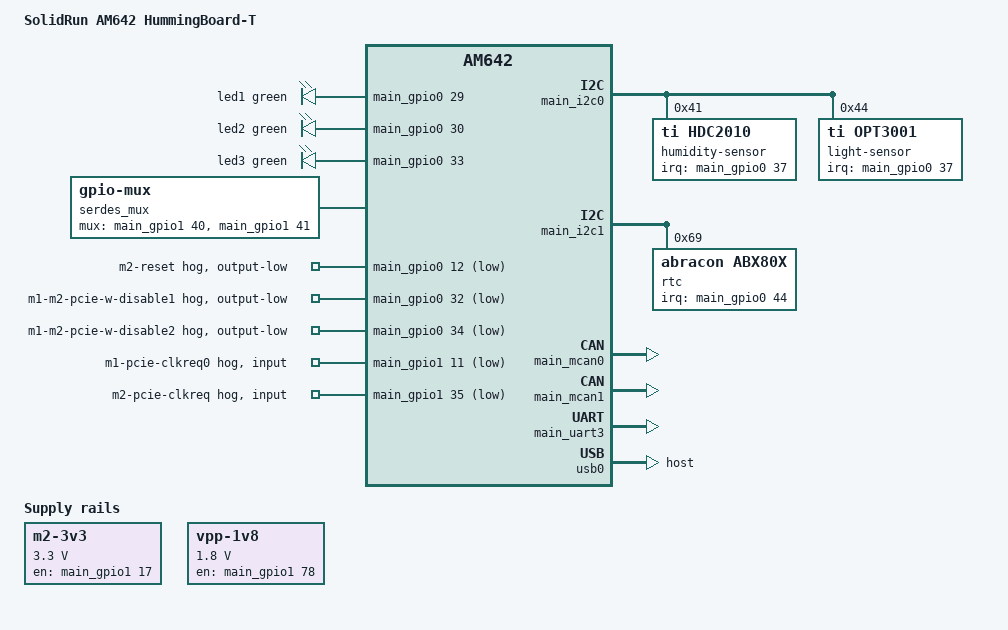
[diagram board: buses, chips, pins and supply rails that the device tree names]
// SPDX-License-Identifier: GPL-2.0+
/*
 * Copyright (C) 2023 Josua Mayer <josua@solid-run.com>
 *
 * DTS for SolidRun AM642 HummingBoard-T,
 * running on Cortex A53.
 *
 */

/dts-v1/;

#include <dt-bindings/leds/common.h>
#include <dt-bindings/phy/phy.h>

#include "k3-am642.dtsi"
#include "k3-am642-sr-som.dtsi"

/ {
	model = "SolidRun AM642 HummingBoard-T";
	compatible = "solidrun,am642-hummingboard-t", "solidrun,am642-sr-som", "ti,am642";

	aliases {
		serial5 = &main_uart3;
	};

	leds {
		compatible = "gpio-leds";
		pinctrl-names = "default";
		pinctrl-0 = <&leds_default_pins>;

		/* D24 */
		led1: led-1 {
			label = "led1";
			gpios = <&main_gpio0 29 GPIO_ACTIVE_HIGH>;
			color = <LED_COLOR_ID_GREEN>;
		};

		/* D25 */
		led2: led-2 {
			label = "led2";
			gpios = <&main_gpio0 30 GPIO_ACTIVE_HIGH>;
			color = <LED_COLOR_ID_GREEN>;
		};

		/* D26 */
		led3: led-3 {
			label = "led3";
			gpios = <&main_gpio0 33 GPIO_ACTIVE_HIGH>;
			color = <LED_COLOR_ID_GREEN>;
		};
	};

	regulator-m2-3v3 {
		compatible = "regulator-fixed";
		pinctrl-names = "default";
		pinctrl-0 = <&regulator_pcie_3v3_default_pins>;
		regulator-name = "m2-3v3";
		regulator-min-microvolt = <3300000>;
		regulator-max-microvolt = <3300000>;
		gpio = <&main_gpio1 17 GPIO_ACTIVE_HIGH>;
		enable-active-high;
		regulator-always-on;
	};

	regulator-vpp-1v8 {
		compatible = "regulator-fixed";
		pinctrl-names = "default";
		pinctrl-0 = <&regulator_vpp_1v8_default_pins>;
		regulator-name = "vpp-1v8";
		regulator-min-microvolt = <1800000>;
		regulator-max-microvolt = <1800000>;
		gpio = <&main_gpio1 78 GPIO_ACTIVE_HIGH>;
		enable-active-high;
	};

	serdes_mux: mux-controller {
		compatible = "gpio-mux";
		pinctrl-names = "default";
		pinctrl-0 = <&serdes_mux_default_pins>;
		#mux-control-cells = <0>;
		/*
		 * Mux has 2 IOs:
		 * - select: 0 = USB-3 (M2); 1 = PCIE (M1)
		 * - shutdown: 0 = active; 1 = disabled (high impedance)
		 */
		mux-gpios = <&main_gpio1 40 GPIO_ACTIVE_HIGH>, <&main_gpio1 41 GPIO_ACTIVE_HIGH>;
		/* default disabled */
		idle-state = <2>;
	};
};

&main_gpio0 {
	m2-reset-hog {
		gpio-hog;
		gpios = <12 GPIO_ACTIVE_LOW>;
		output-low; /* deasserted */
		line-name = "m2-reset";
	};

	m1-m2-w-disable1-hog {
		gpio-hog;
		gpios = <32 GPIO_ACTIVE_LOW>;
		output-low; /* deasserted */
		line-name = "m1-m2-pcie-w-disable1";
	};

	m1-m2-w-disable2-hog {
		gpio-hog;
		gpios = <34 GPIO_ACTIVE_LOW>;
		output-low; /* deasserted */
		line-name = "m1-m2-pcie-w-disable2";
	};
};

&main_gpio1 {
	m1-pcie-clkreq0-hog {
		gpio-hog;
		gpios = <11 GPIO_ACTIVE_LOW>;
		input;
		line-name = "m1-pcie-clkreq0";
	};

	m2-pcie-clkreq-hog {
		gpio-hog;
		gpios = <35 GPIO_ACTIVE_LOW>;
		input;
		line-name = "m2-pcie-clkreq";
	};
};

&main_i2c0 {
	pinctrl-0 = <&main_i2c0_default_pins>, <&main_i2c0_int_default_pins>;

	humidity-sensor@41 {
		compatible = "ti,hdc2010";
		reg = <0x41>;
		interrupt-parent = <&main_gpio0>;
		interrupts = <37 IRQ_TYPE_EDGE_FALLING>;
	};

	light-sensor@44 {
		compatible = "ti,opt3001";
		reg = <0x44>;
		interrupt-parent = <&main_gpio0>;
		interrupts = <37 IRQ_TYPE_EDGE_FALLING>;
	};

	/* charger@6a */
};

&main_i2c1 {
	pinctrl-names = "default";
	pinctrl-0 = <&main_i2c1_default_pins>;
	status = "okay";

	rtc@69 {
		compatible = "abracon,abx80x";
		reg = <0x69>;
		pinctrl-names = "default";
		pinctrl-0 = <&rtc_int_default_pins>;
		abracon,tc-diode = "schottky";
		abracon,tc-resistor = <3>;
		interrupt-parent = <&main_gpio0>;
		interrupts = <44 IRQ_TYPE_EDGE_FALLING>;
	};
};

&main_mcan0 {
	pinctrl-names = "default";
	pinctrl-0 = <&main_mcan0_default_pins>;
	status = "okay";

	can-transceiver {
		max-bitrate = <8000000>;
	};
};

&main_mcan1 {
	pinctrl-names = "default";
	pinctrl-0 = <&main_mcan1_default_pins>;
	status = "okay";

	can-transceiver {
		max-bitrate = <8000000>;
	};
};

&main_pmx0 {
	leds_default_pins: leds-default-pins {
		pinctrl-single,pins = <
			AM64X_IOPAD(0x0074, PIN_OUTPUT, 7) /* GPMC0_AD14.GPIO0_29 */
			AM64X_IOPAD(0x0078, PIN_OUTPUT, 7) /* GPMC0_AD15.GPIO0_30 */
			AM64X_IOPAD(0x0088, PIN_OUTPUT, 7) /* GPMC0_OEn_REn.GPIO0_33 */
		>;
	};

	main_i2c0_int_default_pins: main-i2c0-int-default-pins {
		pinctrl-single,pins = <
			/* external pull-up on Carrier */
			AM64X_IOPAD(0x0098, PIN_INPUT, 7) /* GPMC0_WAIT0.GPIO0_37 */
		>;
	};

	main_i2c1_default_pins: main-i2c1-default-pins {
		pinctrl-single,pins = <
			/* external pull-up on SoM */
			AM64X_IOPAD(0x0268, PIN_INPUT, 0) /* I2C1_SCL.I2C1_SCL */
			AM64X_IOPAD(0x026c, PIN_INPUT, 0) /* I2C1_SDA.I2C1_SDA */
		>;
	};

	main_mcan0_default_pins: main-mcan0-default-pins {
		pinctrl-single,pins = <
			AM64X_IOPAD(0x0254, PIN_INPUT, 0) /* MCAN0_RX.MCAN0_RX */
			AM64X_IOPAD(0x0250, PIN_OUTPUT, 0) /* MCAN0_TX.MCAN0_TX */
		>;
	};

	main_mcan1_default_pins: main-mcan1-default-pins {
		pinctrl-single,pins = <
			AM64X_IOPAD(0x025c, PIN_INPUT, 0) /* MCAN1_RX.MCAN1_RX */
			AM64X_IOPAD(0x0258, PIN_OUTPUT, 0) /* MCAN1_TX.MCAN1_TX */
		>;
	};

	main_uart3_default_pins: main-uart3-default-pins {
		pinctrl-single,pins = <
			AM64X_IOPAD(0x016c, PIN_INPUT, 10) /* PRG0_PRU0_GPO3.UART3_CTSn */
			AM64X_IOPAD(0x0170, PIN_OUTPUT, 10) /* PRG0_PRU0_GPO4.UART3_TXD */
			AM64X_IOPAD(0x0174, PIN_OUTPUT, 10) /* PRG0_PRU0_GPO5.UART3_RTSn */
			AM64X_IOPAD(0x01ac, PIN_INPUT, 10) /* PRG0_PRU0_GPO19.UART3_RXD */
		>;
	};

	pcie0_default_pins: pcie0-default-pins {
		pinctrl-single,pins = <
			/* connector M2 RESET */
			AM64X_IOPAD(0x0030, PIN_OUTPUT, 7) /* OSPI0_CSn1.GPIO0_12 */
			/* connectors M1 & M2 W_DISABLE1 */
			AM64X_IOPAD(0x0084, PIN_OUTPUT, 7) /* GPMC0_ADVN_ALE.GPIO0_32 */
			/* connectors M1 & M2 W_DISABLE2 */
			AM64X_IOPAD(0x008c, PIN_OUTPUT, 7) /* GPMC0_WEN.GPIO0_34 */
			/* connectors M1 & M2 PERST0 (PCI Reset) */
			AM64X_IOPAD(0x019c, PIN_OUTPUT, 7) /* PRG0_PRU0_GPO15.GPIO1_15 */
			/* connector M1 CLKREQ0 */
			AM64X_IOPAD(0x018c, PIN_INPUT, 7) /* PRG0_PRU0_GPO11.GPIO1_11 */
			/* connector M2 CLKREQ0 */
			AM64X_IOPAD(0x01ec, PIN_INPUT, 7) /* PRG0_PRU1_GPO15.GPIO1_35 */
		>;
	};

	regulator_pcie_3v3_default_pins: regulator-pcie-3v3-default-pins {
		pinctrl-single,pins = <
			AM64X_IOPAD(0x01a4, PIN_OUTPUT, 7) /* PRG0_PRU0_GPO17.GPIO1_17 */
		>;
	};

	regulator_vpp_1v8_default_pins: regulator-vpp-1v8-default-pins {
		pinctrl-single,pins = <
			AM64X_IOPAD(0x029c, PIN_OUTPUT, 7) /* MMC1_SDWP.GPIO1_78 */
		>;
	};

	rtc_int_default_pins: rtc-int-default-pins {
		pinctrl-single,pins = <
			/* external pull-up on Carrier */
			AM64X_IOPAD(0x00b4, PIN_INPUT, 7) /* GPMC0_CSn3.GPIO0_44 */
		>;
	};

	serdes_mux_default_pins: serdes-mux-default-pins {
		pinctrl-single,pins = <
			/* SEL, 10k pull-down on carrier, 2.2k pullup on SoM */
			AM64X_IOPAD(0x0200, PIN_OUTPUT, 7) /* PRG0_MDIO0_MDIO.GPIO1_40 */
			/* EN */
			AM64X_IOPAD(0x0204, PIN_OUTPUT, 7) /* PRG0_MDIO0_MDC.GPIO1_41 */
		>;
	};
};

&main_uart3 {
	pinctrl-names = "default";
	pinctrl-0 = <&main_uart3_default_pins>;
	uart-has-rtscts;
	rs485-rts-active-low;
	linux,rs485-enabled-at-boot-time;
	status = "okay";
};

&usb0 {
	dr_mode = "host";
};
